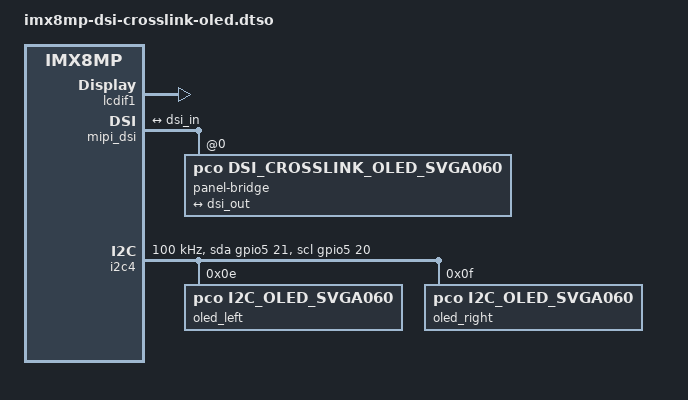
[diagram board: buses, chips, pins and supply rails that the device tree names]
// SPDX-License-Identifier: (GPL-2.0+ OR MIT)

/dts-v1/;
/plugin/;

#include <dt-bindings/clock/imx8mp-clock.h>
#include <dt-bindings/gpio/gpio.h>
#include "../imx8mp-pinfunc.h"

/ {
	compatible = "phytec,imx8mp-phyboard-pollux";
};

&lcdif2 {
	status = "disabled";
};

&lcdif3 {
	status = "disabled";
};

/* MIPI DSI */
&lcdif1 {
	status = "okay";
};

&mipi_dsi {
	status = "okay";

	panel-bridge@0 {
		compatible = "pco,dsi_crosslink_oled_svga060";
		reg = <0>;

		port {
			dsi_in: endpoint {
				remote-endpoint = <&dsi_out>;
			};
		};

		display-timings {
			lcd {
				clock-frequency = <40000000>;
				hactive = <800>;
				vactive = <600>;
				hback-porch = <88>;
				hfront-porch = <40>;
				vback-porch = <23>;
				vfront-porch = <1>;
				hsync-len = <128>;
				vsync-len = <4>;
				hsync-active = <0>;
				vsync-active = <0>;
				de-active = <1>;
				pixelclk-active = <0>;
			};
		};
	};

	port@1 {
		reg = <1>;

		dsi_out: endpoint {
			remote-endpoint = <&dsi_in>;
		};
	};
};

/* disable LVDS1 */
&ldb {
	status = "disabled";
};

&ldb_phy {
	status = "disabled";
};

/* I2C4 OLED SVGA060 */
&i2c4 {
	#address-cells = <1>;
	#size-cells = <0>;

	clock-frequency = <100000>;
	pinctrl-names = "default","gpio";
	pinctrl-0 = <&pinctrl_i2c4>;
	pinctrl-1 = <&pinctrl_i2c4_gpio>;
	scl-gpios = <&gpio5 20 (GPIO_ACTIVE_HIGH | GPIO_OPEN_DRAIN)>;
	sda-gpios = <&gpio5 21 (GPIO_ACTIVE_HIGH | GPIO_OPEN_DRAIN)>;
	status = "okay";

	oled_left@0e {
		compatible = "pco,i2c_oled_svga060";
		reg = <0x0e>;
		status = "okay";
	};

	oled_right@0f {
		compatible = "pco,i2c_oled_svga060";
		reg = <0x0f>;
		status = "okay";
	};
};

/* I2C4 GPIO OLED SVGA060 */
&iomuxc {
	pinctrl_i2c4: i2c4grp {
		fsl,pins = <
			MX8MP_IOMUXC_I2C4_SCL__I2C4_SCL			0x400001c3
			MX8MP_IOMUXC_I2C4_SDA__I2C4_SDA			0x400001c3
		>;
	};

	pinctrl_i2c4_gpio: i2c4gpiogrp {
		fsl,pins = <
			MX8MP_IOMUXC_I2C4_SCL__GPIO5_IO20		0x1c3
			MX8MP_IOMUXC_I2C4_SDA__GPIO5_IO21		0x1c3
		>;
	};
};
